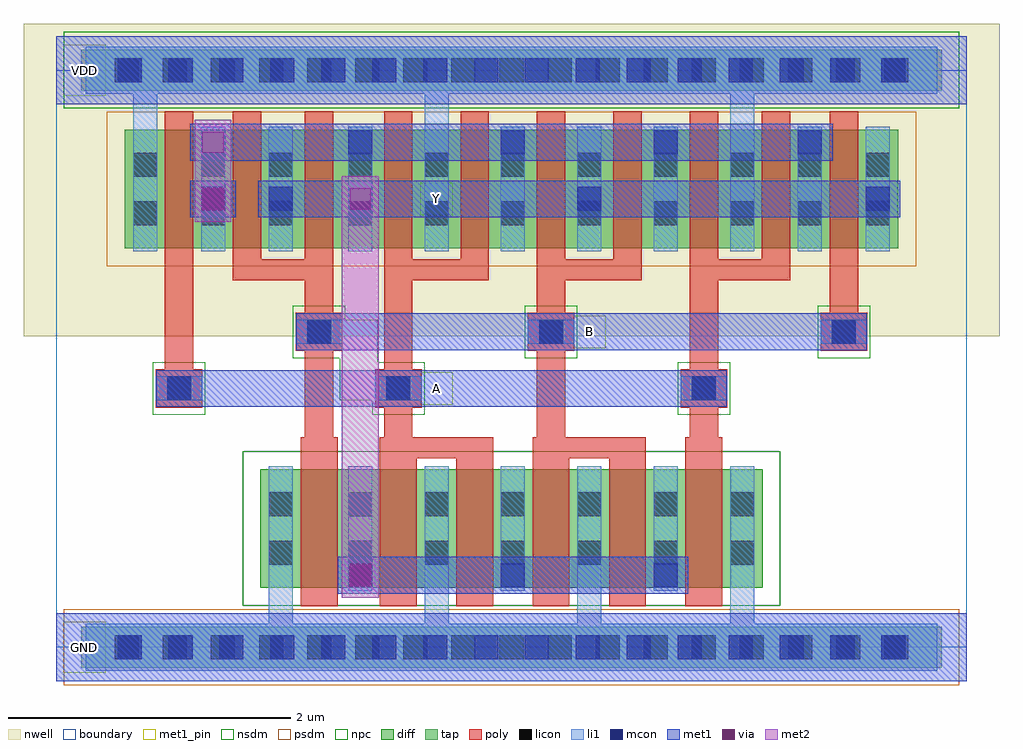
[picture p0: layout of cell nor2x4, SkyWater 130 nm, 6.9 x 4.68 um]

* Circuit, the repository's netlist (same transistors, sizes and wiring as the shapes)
** sch_path: /foss/designs/nor2x4.sch
.subckt nor2x4 A B VDD GND Y
*.PININFO A:I B:I VDD:B GND:B Y:O
XM1 Y A GND GND sky130_fd_pr__nfet_01v8 L=0.26 W=2.52 nf=3
XM3 net1 A VDD VDD sky130_fd_pr__pfet_01v8 L=0.2 W=4.2 nf=5
XM4 Y B net1 VDD sky130_fd_pr__pfet_01v8 L=0.2 W=4.2 nf=5
XM2 Y B GND GND sky130_fd_pr__nfet_01v8 L=0.26 W=2.52 nf=3
.ends

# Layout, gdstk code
import gdstk
lib = gdstk.Library(unit=1e-6, precision=1e-09)
def R(c, l, rs):  # rectangles x0, y0, x1, y1
    for r in rs: c.add(gdstk.rectangle(r[:2], r[2:], *l))
def A(c, l, x, y, w, h, nx, ny, dx, dy):  # array of equal rectangles
    R(c, l, [(x+i*dx, y+j*dy, x+i*dx+w, y+j*dy+h) for i in range(nx) for j in range(ny)])
nwell = (64, 20)
diff = (65, 20)
tap = (65, 44)
poly = (66, 20)
licon = (66, 44)
li1 = (67, 20)
mcon = (67, 44)
met1_pin = (68, 16)
met1 = (68, 20)
via = (68, 44)
met2 = (69, 20)
nsdm = (93, 44)
psdm = (94, 20)
npc = (95, 20)
boundary = (235, 4)

nor2x4 = lib.new_cell('nor2x4')
R(nor2x4, nwell, [(-0.23,2.2,6.67,4.41)])
R(nor2x4, diff, [(1.445,0.42,4.995,1.26), (0.485,2.82,5.955,3.66)])
R(nor2x4, tap, [(0.18,-0.145,6.26,0.145), (0.18,3.935,6.26,4.225)])
A(nor2x4, poly, 2.29, 0.29, 0.26, 1.045, 4, 1, 0.54, 0)
A(nor2x4, poly, 2.32, 2.745, 0.2, 1.045, 5, 1, 0.54, 0)
R(nor2x4, poly, [(1.73,0.29,1.99,1.485), (4.45,0.29,4.71,1.485), (2.29,1.335,3.09,1.485), (3.37,1.335,4.17,1.485), (1.76,1.485,1.96,2.095), (2.32,1.485,2.52,1.695), (3.4,1.485,3.6,2.095), (4.48,1.485,4.68,1.695), (0.705,1.695,1.035,1.965), (2.255,1.695,2.585,1.965), (4.415,1.695,4.745,1.965), (0.77,1.965,0.97,3.79), (2.32,1.965,2.52,2.595), (4.48,1.965,4.68,2.595), (1.695,2.095,2.025,2.365), (3.335,2.095,3.665,2.365), (5.405,2.095,5.735,2.365), (1.76,2.365,1.96,2.595), (3.4,2.365,3.6,2.595), (5.47,2.365,5.67,3.79), (1.25,2.595,1.96,2.745), (2.32,2.595,3.06,2.745), (3.4,2.595,4.14,2.745), (4.48,2.595,5.19,2.745), (1.25,2.745,1.45,3.79), (1.76,2.745,1.96,3.79), (4.99,2.745,5.19,3.79)])
A(nor2x4, licon, 0.415, -0.085, 0.17, 0.17, 17, 2, 0.34, 4.08)
A(nor2x4, licon, 2.065, 0.585, 0.17, 0.17, 6, 2, 0.54, 0.34)
A(nor2x4, licon, 0.545, 2.985, 0.17, 0.17, 3, 2, 0.48, 0.34)
A(nor2x4, licon, 2.065, 2.985, 0.17, 0.17, 6, 2, 0.54, 0.34)
R(nor2x4, licon, [(1.505,0.585,1.675,0.755), (1.505,0.925,1.675,1.095), (0.785,1.745,0.955,1.915), (2.335,1.745,2.505,1.915), (4.495,1.745,4.665,1.915), (1.775,2.145,1.945,2.315), (3.415,2.145,3.585,2.315), (5.485,2.145,5.655,2.315), (5.245,2.985,5.415,3.155), (5.725,2.985,5.895,3.155), (5.245,3.325,5.415,3.495), (5.725,3.325,5.895,3.495)])
A(nor2x4, li1, 2.605, 0.165, 0.17, 1.115, 3, 1, 1.08, 0)
A(nor2x4, li1, 2.065, 0.4, 0.17, 0.88, 3, 1, 1.08, 0)
A(nor2x4, li1, 3.145, 2.8, 0.17, 0.88, 3, 1, 0.54, 0)
R(nor2x4, li1, [(0.21,-0.165,6.23,0.165), (1.505,0.165,1.675,1.28), (0.705,1.745,1.035,1.915), (2.255,1.745,2.585,1.915), (4.415,1.745,4.745,1.915), (1.695,2.145,2.025,2.315), (3.335,2.145,3.665,2.315), (5.405,2.145,5.735,2.315), (0.545,2.8,0.715,3.915), (1.025,2.8,1.195,3.68), (1.505,2.8,1.675,3.68), (2.065,2.8,2.235,3.68), (2.605,2.8,2.775,3.915), (4.765,2.8,4.935,3.915), (5.245,2.8,5.415,3.68), (5.725,2.8,5.895,3.68), (0.21,3.915,6.23,4.245)])
A(nor2x4, mcon, 0.435, -0.085, 0.17, 0.17, 16, 2, 0.36, 4.08)
A(nor2x4, mcon, 2.065, 0.425, 0.17, 0.17, 3, 2, 1.08, 3.06)
R(nor2x4, mcon, [(0.785,1.745,0.955,1.915), (2.335,1.745,2.505,1.915), (4.495,1.745,4.665,1.915), (1.775,2.145,1.945,2.315), (3.415,2.145,3.585,2.315), (5.485,2.145,5.655,2.315), (1.025,3.085,1.195,3.255), (1.505,3.085,1.675,3.255), (3.685,3.085,3.855,3.255), (5.725,3.085,5.895,3.255), (5.245,3.485,5.415,3.655)])
R(nor2x4, met1_pin, [(0.05,-0.18,0.35,0.18), (2.575,1.715,2.805,1.945), (3.655,2.115,3.885,2.345), (2.575,3.055,2.805,3.285), (0.05,3.9,0.35,4.26)])
R(nor2x4, met1, [(0,-0.24,6.44,0.24), (1.99,0.38,4.47,0.64), (0.71,1.7,4.74,1.96), (1.7,2.1,5.73,2.36), (0.95,3.04,1.27,3.3), (1.43,3.04,5.97,3.3), (0.95,3.44,5.49,3.7), (0,3.84,6.44,4.32)])
R(nor2x4, via, [(2.075,0.435,2.225,0.585), (1.035,3.095,1.185,3.245), (2.075,3.095,2.225,3.245), (1.035,3.495,1.185,3.645)])
R(nor2x4, met2, [(2.02,0.35,2.28,3.33), (0.98,3.01,1.24,3.73)])
R(nor2x4, nsdm, [(1.32,0.295,5.12,1.385), (0.055,3.81,6.385,4.35)])
R(nor2x4, psdm, [(0.055,-0.27,6.385,0.27), (0.36,2.695,6.08,3.785)])
R(nor2x4, npc, [(0.685,1.645,1.055,2.015), (2.235,1.645,2.605,1.745), (4.395,1.645,4.765,2.015), (2.005,1.745,2.605,2.015), (2.005,2.015,2.275,2.045), (1.675,2.045,2.275,2.315), (3.315,2.045,3.685,2.415), (5.385,2.045,5.755,2.415), (1.675,2.315,2.045,2.415)])
R(nor2x4, boundary, [(0,0,6.44,4.08)])
nor2x4.add(gdstk.Label('A', (2.69,1.83), layer=68, texttype=5))
nor2x4.add(gdstk.Label('B', (3.77,2.23), layer=68, texttype=5))
nor2x4.add(gdstk.Label('VDD', (0.2,4.08), layer=68, texttype=5))
nor2x4.add(gdstk.Label('GND', (0.2,0), layer=68, texttype=5))
nor2x4.add(gdstk.Label('Y', (2.69,3.17), layer=68, texttype=5))

lib.write_gds('nor2x4.gds')
